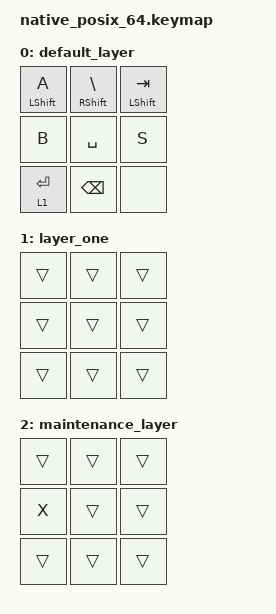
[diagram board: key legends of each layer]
#include <dt-bindings/zmk/keys.h>
#include <behaviors.dtsi>
#include <dt-bindings/zmk/kscan_mock.h>

&lt {
    flavor = "balanced";
    tapping-term-ms = <175>;
    quick-tap-ms = <125>;
};

/ {
    behaviors {
        shift_tab: shift_tab {
            compatible = "zmk,behavior-hold-tap";
            #binding-cells = <2>;
            flavor = "hold-preferred";
            tapping-term-ms = <175>;
            quick-tap-ms = <125>;
            bindings = <&kp>, <&kp>;
        };
        caps_sys: caps_sys {
            compatible = "zmk,behavior-hold-tap";
            #binding-cells = <2>;
            flavor = "hold-preferred";
            tapping-term-ms = <200>;
            bindings = <&mo>, <&caps_word>;
        };
        hml: home_row_mod_left {
            label = "hrm_left";
            compatible = "zmk,behavior-hold-tap";
            #binding-cells = <2>;
            flavor = "balanced";
            tapping-term-ms = <190>;
            quick-tap-ms = <120>;
            require-prior-idle-ms = <100>;
            bindings = <&kp>, <&kp>;
        };
    };
    combos {
        compatible = "zmk,combos";
        combo_caps_word_maintenance {
            timeout-ms = <21>;
            key-positions = <6 7>;
            bindings = <&caps_sys 2 0>;
            layers = <0 1>;
        };
    };
    keymap {
        compatible = "zmk,keymap";
        default_layer {
            bindings = <
                &hml LSHFT A      &hml RSHFT BSLH         &shift_tab LSHFT TAB
                &kp B             &kp SPACE               &kp S
                &lt 1 RET         &kp BSPC                &none
            >;
        };
        layer_one {
            bindings = <
                &trans &trans &trans
                &trans &trans &trans
                &trans &trans &trans
            >;
        };
        maintenance_layer {
            bindings = <
                &trans &trans &trans
                &kp X  &trans &trans
                &trans &trans &trans
            >;
        };
    };
};

&kscan {
    rows = <3>;
    columns = <3>;
    events = <
        // Three rapid Tab taps stay three Tabs.
        ZMK_MOCK_PRESS(0,2,30) ZMK_MOCK_RELEASE(0,2,30)
        ZMK_MOCK_PRESS(0,2,30) ZMK_MOCK_RELEASE(0,2,30)
        ZMK_MOCK_PRESS(0,2,30) ZMK_MOCK_RELEASE(0,2,300)

        // A and backslash type immediately; a double tap is just two letters.
        ZMK_MOCK_PRESS(0,0,30) ZMK_MOCK_RELEASE(0,0,30)
        ZMK_MOCK_PRESS(0,0,30) ZMK_MOCK_RELEASE(0,0,300)
        ZMK_MOCK_PRESS(0,1,30) ZMK_MOCK_RELEASE(0,1,300)

        // Fast typing: B, then Shift thumb + A, letting go of Shift first.
        ZMK_MOCK_PRESS(1,0,20) ZMK_MOCK_RELEASE(1,0,20)
        ZMK_MOCK_PRESS(0,2,30) ZMK_MOCK_PRESS(0,0,30)
        ZMK_MOCK_RELEASE(0,2,20) ZMK_MOCK_RELEASE(0,0,400)
        // Fast typing: B, then Shift thumb + A, letting go of A first.
        ZMK_MOCK_PRESS(1,0,20) ZMK_MOCK_RELEASE(1,0,20)
        ZMK_MOCK_PRESS(0,2,30) ZMK_MOCK_PRESS(0,0,30)
        ZMK_MOCK_RELEASE(0,0,40) ZMK_MOCK_RELEASE(0,2,400)

        // Tapping Enter and Backspace together starts Caps Word.
        ZMK_MOCK_PRESS(2,0,10) ZMK_MOCK_PRESS(2,1,30)
        ZMK_MOCK_RELEASE(2,0,10) ZMK_MOCK_RELEASE(2,1,300)
        ZMK_MOCK_PRESS(1,0,20) ZMK_MOCK_RELEASE(1,0,20)
        ZMK_MOCK_PRESS(1,2,20) ZMK_MOCK_RELEASE(1,2,20)
        ZMK_MOCK_PRESS(1,1,20) ZMK_MOCK_RELEASE(1,1,20)
        ZMK_MOCK_PRESS(1,0,20) ZMK_MOCK_RELEASE(1,0,300)

        // Holding Enter and Backspace together opens maintenance (B becomes X).
        ZMK_MOCK_PRESS(2,0,10) ZMK_MOCK_PRESS(2,1,300)
        ZMK_MOCK_PRESS(1,0,20) ZMK_MOCK_RELEASE(1,0,20)
        ZMK_MOCK_RELEASE(2,0,10) ZMK_MOCK_RELEASE(2,1,300)

        // On their own, Enter and Backspace keep their normal taps.
        ZMK_MOCK_PRESS(2,0,40) ZMK_MOCK_RELEASE(2,0,300)
        ZMK_MOCK_PRESS(2,1,40) ZMK_MOCK_RELEASE(2,1,300)

        // Held A still gives Shift.
        ZMK_MOCK_PRESS(0,0,250) ZMK_MOCK_PRESS(1,0,20)
        ZMK_MOCK_RELEASE(1,0,20) ZMK_MOCK_RELEASE(0,0,300)
    >;
};
